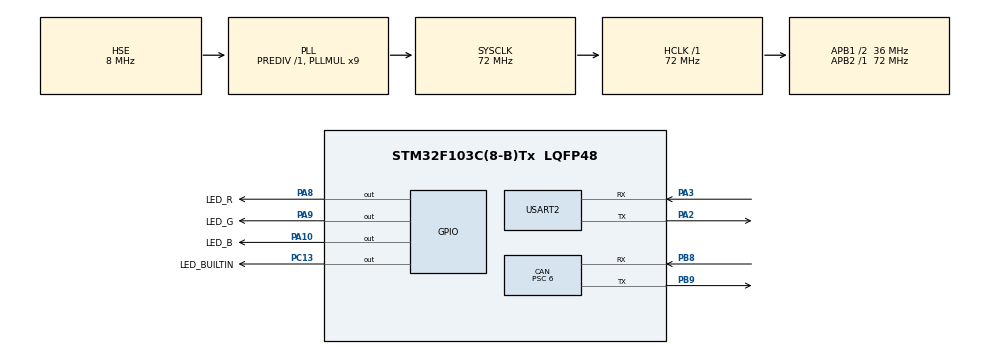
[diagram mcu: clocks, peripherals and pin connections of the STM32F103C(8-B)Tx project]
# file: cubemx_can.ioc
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CAN.ABOM=ENABLE
CAN.BS1=CAN_BS1_5TQ
CAN.BS2=CAN_BS2_6TQ
CAN.CalculateTimeBit=2000
CAN.CalculateTimeQuantum=166.66666666666669
CAN.NART=ENABLE
CAN.Prescaler=6
Dma.Request0=USART2_TX
Dma.Request1=USART2_RX
Dma.USART2_RX.1.Direction=DMA_PERIPH_TO_MEMORY
Dma.USART2_RX.1.Instance=DMA1_Channel6
Dma.USART2_RX.1.MemDataAlignment=DMA_MDATAALIGN_BYTE
Dma.USART2_RX.1.MemInc=DMA_MINC_ENABLE
Dma.USART2_RX.1.Mode=DMA_NORMAL
Dma.USART2_RX.1.PeriphDataAlignment=DMA_PDATAALIGN_BYTE
Dma.USART2_RX.1.PeriphInc=DMA_PINC_DISABLE
Dma.USART2_RX.1.Priority=DMA_PRIORITY_LOW
Dma.USART2_TX.0.Direction=DMA_MEMORY_TO_PERIPH
Dma.USART2_TX.0.Instance=DMA1_Channel7
Dma.USART2_TX.0.MemDataAlignment=DMA_MDATAALIGN_BYTE
Dma.USART2_TX.0.MemInc=DMA_MINC_ENABLE
Dma.USART2_TX.0.Mode=DMA_NORMAL
Dma.USART2_TX.0.PeriphDataAlignment=DMA_PDATAALIGN_BYTE
Dma.USART2_TX.0.PeriphInc=DMA_PINC_DISABLE
Dma.USART2_TX.0.Priority=DMA_PRIORITY_LOW
Mcu.Family=STM32F1
Mcu.Name=STM32F103C(8-B)Tx
Mcu.Package=LQFP48
NVIC.CAN1_RX1_IRQn=true\:0\:0\:false\:false\:true
NVIC.CAN1_SCE_IRQn=true\:0\:0\:false\:false\:true
NVIC.DMA1_Channel6_IRQn=true\:0\:0\:false\:false\:true
NVIC.DMA1_Channel7_IRQn=true\:0\:0\:false\:false\:true
NVIC.PriorityGroup=NVIC_PRIORITYGROUP_4
NVIC.TIM4_IRQn=true\:0\:0\:false\:false\:true
NVIC.TimeBase=TIM4_IRQn
NVIC.TimeBaseIP=TIM4
NVIC.USART2_IRQn=true\:0\:0\:false\:false\:true
NVIC.USB_LP_CAN1_RX0_IRQn=true\:0\:0\:false\:false\:true
PA10.GPIO_Label=LED_B
PA10.PinState=GPIO_PIN_RESET
PA10.Signal=GPIO_Output
PA13.Mode=Serial_Wire
PA13.Signal=SYS_JTMS-SWDIO
PA14.Mode=Serial_Wire
PA14.Signal=SYS_JTCK-SWCLK
PA2.Mode=Asynchronous
PA2.Signal=USART2_TX
PA3.Mode=Asynchronous
PA3.Signal=USART2_RX
PA8.GPIO_Label=LED_R
PA8.PinState=GPIO_PIN_RESET
PA8.Signal=GPIO_Output
PA9.GPIO_Label=LED_G
PA9.PinState=GPIO_PIN_RESET
PA9.Signal=GPIO_Output
PB8.Mode=Master
PB8.Signal=CAN_RX
PB9.Mode=Master
PB9.Signal=CAN_TX
PC13-TAMPER-RTC.GPIO_Label=LED_BUILTIN
PC13-TAMPER-RTC.PinState=GPIO_PIN_SET
PC13-TAMPER-RTC.Signal=GPIO_Output
PC14-OSC32_IN.Mode=LSE-External-Oscillator
PC14-OSC32_IN.Signal=RCC_OSC32_IN
PC15-OSC32_OUT.Mode=LSE-External-Oscillator
PC15-OSC32_OUT.Signal=RCC_OSC32_OUT
PD0-OSC_IN.Mode=HSE-External-Oscillator
PD0-OSC_IN.Signal=RCC_OSC_IN
PD1-OSC_OUT.Mode=HSE-External-Oscillator
PD1-OSC_OUT.Signal=RCC_OSC_OUT
ProjectManager.HeapSize=0x200
ProjectManager.StackSize=0x400
ProjectManager.TargetToolchain=SW4STM32
RCC.ADCPresc=RCC_ADCPCLK2_DIV6
RCC.AHBFreq_Value=72000000
RCC.APB1CLKDivider=RCC_HCLK_DIV2
RCC.APB1Freq_Value=36000000
RCC.APB1TimFreq_Value=72000000
RCC.APB2Freq_Value=72000000
RCC.APB2TimFreq_Value=72000000
RCC.EnbaleCSS=true
RCC.HCLKFreq_Value=72000000
RCC.PLLMUL=RCC_PLL_MUL9
RCC.PLLSourceVirtual=RCC_PLLSOURCE_HSE
RCC.SYSCLKFreq_VALUE=72000000
RCC.SYSCLKSource=RCC_SYSCLKSOURCE_PLLCLK
RCC.USBFreq_Value=48000000
RCC.USBPrescaler=RCC_USBCLKSOURCE_PLL_DIV1_5
USART2.VirtualMode=VM_ASYNC
VP_CRC_VS_CRC.Mode=CRC_Activate
VP_SYS_VS_tim4.Mode=TIM4
board=cubemx_can

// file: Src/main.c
/**
  ******************************************************************************
  * File Name          : main.c
  * Description        : Main program body
  ******************************************************************************
  ** This notice applies to any and all portions of this file
  * that are not between comment pairs USER CODE BEGIN and
  * USER CODE END. Other portions of this file, whether
  * inserted by the user or by software development tools
  * are owned by their respective copyright owners.
  *
  * COPYRIGHT(c) 2017 STMicroelectronics
  *
  * Redistribution and use in source and binary forms, with or without modification,
  * are permitted provided that the following conditions are met:
  *   1. Redistributions of source code must retain the above copyright notice,
  *      this list of conditions and the following disclaimer.
  *   2. Redistributions in binary form must reproduce the above copyright notice,
  *      this list of conditions and the following disclaimer in the documentation
  *      and/or other materials provided with the distribution.
  *   3. Neither the name of STMicroelectronics nor the names of its contributors
  *      may be used to endorse or promote products derived from this software
  *      without specific prior written permission.
  *
  * THIS SOFTWARE IS PROVIDED BY THE COPYRIGHT HOLDERS AND CONTRIBUTORS "AS IS"
  * AND ANY EXPRESS OR IMPLIED WARRANTIES, INCLUDING, BUT NOT LIMITED TO, THE
  * IMPLIED WARRANTIES OF MERCHANTABILITY AND FITNESS FOR A PARTICULAR PURPOSE ARE
  * DISCLAIMED. IN NO EVENT SHALL THE COPYRIGHT HOLDER OR CONTRIBUTORS BE LIABLE
  * FOR ANY DIRECT, INDIRECT, INCIDENTAL, SPECIAL, EXEMPLARY, OR CONSEQUENTIAL
  * DAMAGES (INCLUDING, BUT NOT LIMITED TO, PROCUREMENT OF SUBSTITUTE GOODS OR
  * SERVICES; LOSS OF USE, DATA, OR PROFITS; OR BUSINESS INTERRUPTION) HOWEVER
  * CAUSED AND ON ANY THEORY OF LIABILITY, WHETHER IN CONTRACT, STRICT LIABILITY,
  * OR TORT (INCLUDING NEGLIGENCE OR OTHERWISE) ARISING IN ANY WAY OUT OF THE USE
  * OF THIS SOFTWARE, EVEN IF ADVISED OF THE POSSIBILITY OF SUCH DAMAGE.
  *
  ******************************************************************************
  */
#include "main.h"
#include "stm32f1xx_hal.h"
#include "can.h"
#include "crc.h"
#include "dma.h"
#include "usart.h"
#include "gpio.h"

/* USER CODE BEGIN Includes */
#include "diag/Trace.h"

/* USER CODE END Includes */

/* USER CODE BEGIN PV */
/* Private variables ---------------------------------------------------------*/
//uint8_t ubKeyNumber = 0x0;
volatile uint8_t MsgFlag = 0;
static CanTxMsgTypeDef TxMessage;
static CanRxMsgTypeDef RxMessage;
uint8_t txBuf[256];

/* USER CODE END PV */

void SystemClock_Config(void);

/* USER CODE BEGIN PFP */
/* Private function prototypes -----------------------------------------------*/
static void CAN_Config(void);
/* USER CODE END PFP */

/* USER CODE BEGIN 0 */
#define LED_R(Op) HAL_GPIO_WritePin(LED_R_GPIO_Port, LED_R_Pin, GPIO_PIN_##Op)
#define LED_G(Op) HAL_GPIO_WritePin(LED_G_GPIO_Port,  LED_G_Pin, GPIO_PIN_##Op)
#define LED_B(Op) HAL_GPIO_WritePin(LED_B_GPIO_Port, LED_B_Pin, GPIO_PIN_##Op)

/**
 * @brief  Configures the CAN.
 * @param  None
 * @retval None
 */
static void CAN_Config(void) {
	CAN_FilterConfTypeDef sFilterConfig;
	/*##-1- Configure the CAN peripheral #######################################*/
	hcan.pTxMsg = &TxMessage;
	hcan.pRxMsg = &RxMessage;
	/*
	 CAN bps = RCC_APB1Periph_CAN1 / Prescaler / (SJW + BS1 + BS2);

	 SJW = synchronisation_jump_width
	 BS = bit_segment

	 设置CAN波特率为500Kbsp
	 CAN 波特率 = 360000000 / 6 / (1 + 5 + 6) / = 500Kbsp
	 */

	/*
	 TTCM = time triggered communication mode
	 ABOM = automatic bus-off management
	 AWUM = automatic wake-up mode
	 NART = no automatic retransmission
	 RFLM = receive FIFO locked mode
	 TXFP = transmit FIFO priority
	 */
	hcan.Init.TTCM = DISABLE; 			// 禁止时间触发模式（不生成时间戳), T
	hcan.Init.ABOM = ENABLE; 			// 禁止自动总线关闭管理
	hcan.Init.AWUM = DISABLE; 			// 禁止自动唤醒模式
	hcan.Init.NART = ENABLE; 			// 禁止仲裁丢失或出错后的自动重传功能
	hcan.Init.RFLM = DISABLE; 			// 禁止接收FIFO加锁模式
	hcan.Init.TXFP = DISABLE; 			// 禁止传输FIFO优先级
	hcan.Init.Mode = CAN_MODE_NORMAL; 	// 设置CAN为正常工作模式
//	hcan.Init.Mode = CAN_MODE_LOOPBACK;

	if (HAL_CAN_Init(&hcan) != HAL_OK) {
		/* Initiliazation Error */
		Error_Handler();
	}

	/*##-2- Configure the CAN Filter ###########################################*/
	/* 设置CAN滤波器0 */
	sFilterConfig.FilterNumber = 0;							// 滤波器序号，0-13，共14个滤波器
	sFilterConfig.FilterMode = CAN_FILTERMODE_IDMASK;	// 滤波器模式，设置ID掩码模式
	sFilterConfig.FilterScale = CAN_FILTERSCALE_32BIT;	// 32位滤波
	sFilterConfig.FilterIdHigh = 0x0000;					// 掩码后ID的高16bit
	sFilterConfig.FilterIdLow = 0x0000;					// 掩码后ID的低16bit
	sFilterConfig.FilterMaskIdHigh = 0x0000;				// ID掩码值高16bit
	sFilterConfig.FilterMaskIdLow = 0x0000;				// ID掩码值低16bit
	sFilterConfig.FilterFIFOAssignment = 0;				// 滤波器绑定FIFO 0
	sFilterConfig.FilterActivation = ENABLE;				// 使能滤波器
	sFilterConfig.BankNumber = 14;

	if (HAL_CAN_ConfigFilter(&hcan, &sFilterConfig) != HAL_OK) {
		/* Filter configuration Error */
		Error_Handler();
	}

	/*##-3- Configure Transmission process #####################################*/
	hcan.pTxMsg->StdId = 0x101;
	hcan.pTxMsg->ExtId = 0x00;
	hcan.pTxMsg->RTR = CAN_RTR_DATA;
	hcan.pTxMsg->IDE = CAN_ID_STD;
	hcan.pTxMsg->DLC = 1;
}
/**
 * @brief  Transmission  complete callback in non blocking mode
 * @param  CanHandle: pointer to a CAN_HandleTypeDef structure that contains
 *         the configuration information for the specified CAN.
 * @retval None
 */
void HAL_CAN_RxCpltCallback(CAN_HandleTypeDef *HCan) {
	if (HCan->pRxMsg->IDE == CAN_ID_STD) {
		MsgFlag = 1;
	}

	/* Receive */
	if (HAL_CAN_Receive_IT(HCan, CAN_FIFO0) != HAL_OK) {
		/* Reception Error */
		Error_Handler();
	}
}
void HAL_CAN_ErrorCallback(CAN_HandleTypeDef *hcan) {
	sprintf(txBuf, "HAL_CAN_ErrorCallback, GetState=%x,GetError=%x\n", HAL_CAN_GetState(hcan), HAL_CAN_GetError(hcan));
	HAL_UART_Transmit_IT(&huart2, txBuf, (uint16_t) strlen(txBuf));
}
/* USER CODE END 0 */
int main(void)
{

  /* USER CODE BEGIN 1 */
	// Send a greeting to the trace device (skipped on Release).
	trace_puts("Hello ARM World!");

  /* USER CODE END 1 */

  /* MCU Configuration----------------------------------------------------------*/

  /* Reset of all peripherals, Initializes the Flash interface and the Systick. */
  HAL_Init();

  /* Configure the system clock */
  SystemClock_Config();

  /* Initialize all configured peripherals */
  MX_GPIO_Init();
  MX_DMA_Init();
  MX_CRC_Init();
  MX_USART2_UART_Init();
  MX_CAN_Init();

  /* USER CODE BEGIN 2 */
	LED_R(SET);
	LED_G(SET);
	LED_B(SET);
	HAL_GPIO_WritePin(LED_BUILTIN_GPIO_Port, LED_BUILTIN_Pin, GPIO_PIN_RESET); //ON
	HAL_Delay(300);
	LED_R(RESET);
	LED_G(RESET);
	LED_B(RESET); //OFF
	HAL_GPIO_WritePin(LED_BUILTIN_GPIO_Port, LED_BUILTIN_Pin, GPIO_PIN_SET); //OFF

	/*##-1- Configure the CAN peripheral #######################################*/
	CAN_Config();
	/*##-2- Start the Reception process and enable reception interrupt #########*/
	if (HAL_CAN_Receive_IT(&hcan, CAN_FIFO0) != HAL_OK) {
		/* Reception Error */
		Error_Handler();
	}

	uint32_t seconds = 0;
	uint8_t ubKeyNumber = 0;
	memset(txBuf, 0, 256l);
	uint32_t Ticks = HAL_GetTick() + 500;
	uint8_t isOn = 0;
  /* USER CODE END 2 */

  /* Infinite loop */
  while (1)
  {

  /* USER CODE BEGIN 3 */
		// Count seconds on the trace device.
		if (Ticks <= HAL_GetTick()) {
			Ticks = HAL_GetTick() + 500; //1ms interrupt
			if (isOn) {
				isOn = 0;
				HAL_GPIO_WritePin(LED_BUILTIN_GPIO_Port, LED_BUILTIN_Pin, GPIO_PIN_SET);
				sprintf(txBuf, "Second %u\n", seconds);
				HAL_UART_Transmit_IT(&huart2, txBuf, (uint16_t) strlen(txBuf));
				trace_printf(txBuf);
			} else {
				isOn = 1;
				HAL_GPIO_WritePin(LED_BUILTIN_GPIO_Port, LED_BUILTIN_Pin, GPIO_PIN_RESET);
				seconds++;
				/* Set the data to be tranmitted */
				ubKeyNumber = ++ubKeyNumber % 8;
				hcan.pTxMsg->Data[0] = ubKeyNumber;
				hcan.pTxMsg->Data[1] = 0xAD;

				/*##-3- Start the Transmission process ###############################*/
				if (HAL_CAN_Transmit(&hcan, 10) != HAL_OK) {
					/* Transmition Error */
					Error_Handler();
				}
			}
		}
		if (MsgFlag) {
			MsgFlag = 0;
			sprintf(txBuf, "StdId=0x%08X, DLC=0x%08X, Data[0]=0x%02X\n", RxMessage.StdId, RxMessage.DLC,
					RxMessage.Data[0]);
			HAL_UART_Transmit_IT(&huart2, txBuf, (uint16_t) strlen(txBuf));
			uint8_t ledCtrl = RxMessage.Data[0];
			if (ledCtrl & 0x1) {
				LED_B(SET);
			} else {
				LED_B(RESET);
			}
			if (ledCtrl & 0x2) {
				LED_G(SET);
			} else {
				LED_G(RESET);
			}
			if (ledCtrl & 0x4) {
				LED_R(SET);
			} else {
				LED_R(RESET);
			}
		}
  }
  /* USER CODE END 3 */

}

/** System Clock Configuration
*/
void SystemClock_Config(void)
{

  RCC_OscInitTypeDef RCC_OscInitStruct;
  RCC_ClkInitTypeDef RCC_ClkInitStruct;

    /**Initializes the CPU, AHB and APB busses clocks
    */
  RCC_OscInitStruct.OscillatorType = RCC_OSCILLATORTYPE_HSE;
  RCC_OscInitStruct.HSEState = RCC_HSE_ON;
  RCC_OscInitStruct.HSEPredivValue = RCC_HSE_PREDIV_DIV1;
  RCC_OscInitStruct.HSIState = RCC_HSI_ON;
  RCC_OscInitStruct.PLL.PLLState = RCC_PLL_ON;
  RCC_OscInitStruct.PLL.PLLSource = RCC_PLLSOURCE_HSE;
  RCC_OscInitStruct.PLL.PLLMUL = RCC_PLL_MUL9;
  if (HAL_RCC_OscConfig(&RCC_OscInitStruct) != HAL_OK)
  {
    _Error_Handler(__FILE__, __LINE__);
  }

    /**Initializes the CPU, AHB and APB busses clocks
    */
  RCC_ClkInitStruct.ClockType = RCC_CLOCKTYPE_HCLK|RCC_CLOCKTYPE_SYSCLK
                              |RCC_CLOCKTYPE_PCLK1|RCC_CLOCKTYPE_PCLK2;
  RCC_ClkInitStruct.SYSCLKSource = RCC_SYSCLKSOURCE_PLLCLK;
  RCC_ClkInitStruct.AHBCLKDivider = RCC_SYSCLK_DIV1;
  RCC_ClkInitStruct.APB1CLKDivider = RCC_HCLK_DIV2;
  RCC_ClkInitStruct.APB2CLKDivider = RCC_HCLK_DIV1;

  if (HAL_RCC_ClockConfig(&RCC_ClkInitStruct, FLASH_LATENCY_2) != HAL_OK)
  {
    _Error_Handler(__FILE__, __LINE__);
  }

    /**Enables the Clock Security System
    */
  HAL_RCC_EnableCSS();

    /**Configure the Systick interrupt time
    */
  HAL_SYSTICK_Config(HAL_RCC_GetHCLKFreq()/1000);

    /**Configure the Systick
    */
  HAL_SYSTICK_CLKSourceConfig(SYSTICK_CLKSOURCE_HCLK);

  /* SysTick_IRQn interrupt configuration */
  HAL_NVIC_SetPriority(SysTick_IRQn, 0, 0);
}

void HAL_TIM_PeriodElapsedCallback(TIM_HandleTypeDef *htim)
{
  if (htim->Instance == TIM4) {
    HAL_IncTick();
  }
}

void _Error_Handler(char * file, int line)
{
  /* USER CODE BEGIN Error_Handler_Debug */
  /* User can add his own implementation to report the HAL error return state */
	trace_printf("Error_Handler in File: %s, Line: %d\n", file, line);
	HAL_Delay(300);
//  while(1)
//  {
//  }
  /* USER CODE END Error_Handler_Debug */
}

#ifdef USE_FULL_ASSERT

/**
   * @brief Reports the name of the source file and the source line number
   * where the assert_param error has occurred.
   * @param file: pointer to the source file name
   * @param line: assert_param error line source number
   * @retval None
   */
void assert_failed(uint8_t* file, uint32_t line)
{
  /* USER CODE BEGIN 6 */
  /* User can add his own implementation to report the file name and line number,
    ex: printf("Wrong parameters value: file %s on line %d\r\n", file, line) */
	trace_printf("Wrong parameters value: file %s on line %d\r\n", file, line);
  /* USER CODE END 6 */

}

#endif

/************************ (C) COPYRIGHT STMicroelectronics *****END OF FILE****/
